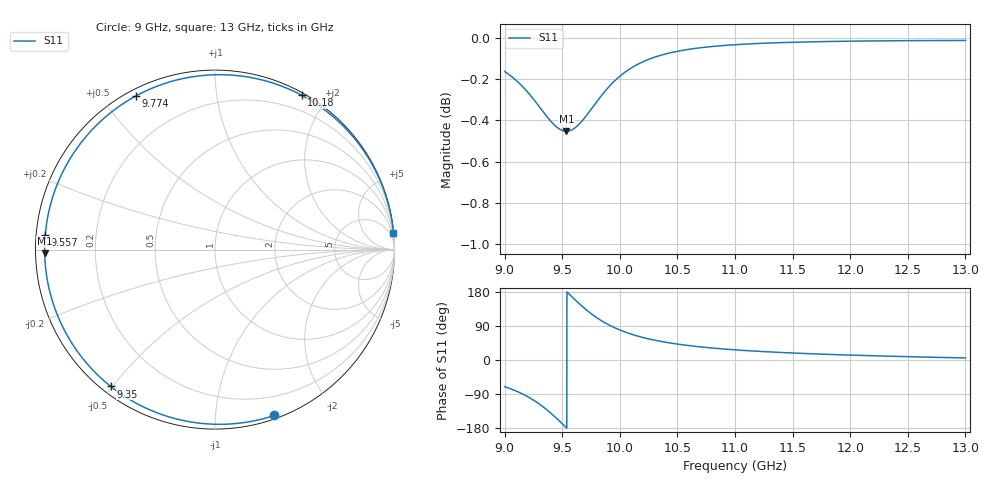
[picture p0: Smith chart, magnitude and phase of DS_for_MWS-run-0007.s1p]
! TOUCHSTONE file generated by CST DESIGN STUDIO
! Date and time: Tue Feb  4 17:56:34 2025
! Project name: C:\Work\MatlabApps\UnitCellOptimizationMatlab\CST\unitcell.cst
! Tree item: Tasks\Sweep1\SPara1\S-Parameters
! Header version: 2024
! Port assignment regex: !\s*Touchstone port\s*([0-9]+)\s*=\s*(CST MWS port|CST DES external port|CST DES block port)\s*(.+)\s* \(\"(.*)\"\)(\s*mode\s*([0-9]+))?.*
! Touchstone port assignment:
! Touchstone port 1 = CST DES external port 1 ("")
# GHz S MA R 50
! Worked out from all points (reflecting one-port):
!   4001 points, 9 GHz to 13 GHz, reference 50 ohm
!   lowest |S11| = -0.5 dB at 9.536 GHz (marker M1), VSWR 38.40, Z = 1.3 - j0.525 ohm
!   phase of S11 starts at -70 deg and turns -284 deg over the sweep
!   S11 on the Smith chart (normalised r, x): 9 GHz: 0.03, -1.42; 9.35 GHz: 0.03, -0.49; 9.557 GHz: 0.03, +0.04; 9.774 GHz: 0.03, +0.61; 10.18 GHz: 0.03, +1.71; 13 GHz: 0, +21
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9  0.9815 -70.3
9.099  0.9767 -81.7
9.207  0.9697 -98.0
9.282  0.9639 -112.1
9.35  0.9584 -127.3
9.421  0.9532 -145.6
9.462  0.951 -157.0
9.5  0.9497 -168.1
9.536  0.9492 -178.8
9.557  0.9494 174.9
9.611  0.951 159.1
9.672  0.9547 142.0
9.723  0.9586 129.0
9.774  0.9629 117.2
9.822  0.9669 107.2
9.874  0.9709 97.7
9.932  0.9749 88.4
10  0.9789 79.2
10.088  0.983 69.3
10.183  0.9863 60.7
10.328  0.9899 50.7
10.5  0.9926 42.0
10.721  0.9948 33.9
11  0.9963 26.8
11.5  0.9977 18.5
12  0.9983 12.9
12.5  0.9986 8.8
13  0.9987 5.4
